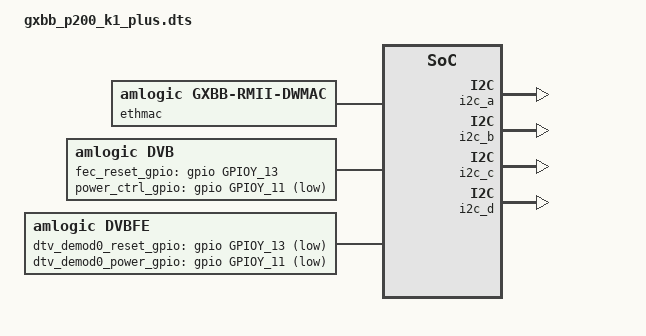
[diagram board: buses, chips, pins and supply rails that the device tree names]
#include "gxbb_p200.dts"

/{
	le-dt-id = "gxbb_p200_k1_plus";
	ethmac: ethernet@0xc9410000 {
		compatible = "amlogic, gxbb-rmii-dwmac";
		phy-mode= "rmii";
		mc_val = <0x1800>;
	};

	/delete-node/ bt-dev;

	wifi {
		irq_trigger_type = "GPIO_IRQ_HIGH";
		/delete-property/ dhd_static_buf;
		power_on_pin2 = <&gpio	   GPIOX_20	   GPIO_ACTIVE_HIGH>;
	};

	sdio {
		interrupts = <	0 216 4>;
	};

	dwc2_a {
		port-id-mode = <0>; /** 0: hardware, 1: sw_host, 2: sw_slave*/
		/delete-property/ gpio-vbus-power;
		/delete-property/ gpios;
	};

	dvb {
		compatible = "amlogic,dvb";
		dev_name = "dvb";
		status = "okay";
		fec_reset_gpio-gpios = <&gpio GPIOY_13 GPIO_ACTIVE_HIGH>;
		power_ctrl_gpio-gpios = <&gpio GPIOY_11 GPIO_ACTIVE_LOW>;
		//"parallel","serial","disable"
		ts0 = "parallel";
		ts0_control = <0>;
		ts0_invert = <0>;
		pinctrl-names = "p_ts0", "s_ts0";
		pinctrl-0 = <&dvb_p_ts0_pins>;
		pinctrl-1 = <&dvb_s_ts0_pins>;
		resets = <&clock GCLK_IDX_DEMUX
				&clock GCLK_IDX_ASYNC_FIFO
				&clock GCLK_IDX_AHB_ARB0
				&clock GCLK_IDX_HIU_PARSER_TOP>;
		reset-names = "demux", "asyncfifo", "ahbarb0", "uparsertop";
	};

	dvbfe {
		compatible = "amlogic,dvbfe";
		//dev_name = "avl6211";
		status = "okay";
		dtv_demod0 = "Avl6211";
		dtv_demod0_i2c_adap_id = <1>;
		dtv_demod0_i2c_addr = <0xC0>;
		dtv_demod0_reset_value = <0>;
		//dtv_demod0_reset_gpio = <&gpio GPIOY_13 GPIO_ACTIVE_HIGH>;
		dtv_demod0_reset_gpio-gpios = <&gpio GPIOY_13 GPIO_ACTIVE_LOW>;
		dtv_demod0_power_gpio-gpios = <&gpio GPIOY_11 GPIO_ACTIVE_LOW>;
		fe0_dtv_demod = <0>;
		fe0_ts = <0>;
		fe0_dev = <0>;
	};
};

&i2c_a {
	status = "okay";
};

&i2c_b {
	status = "okay";
};

&i2c_c {
	status = "okay";
};

&i2c_d {
	status = "okay";
};
 
&i2c_slave {
	status = "disabled";
};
